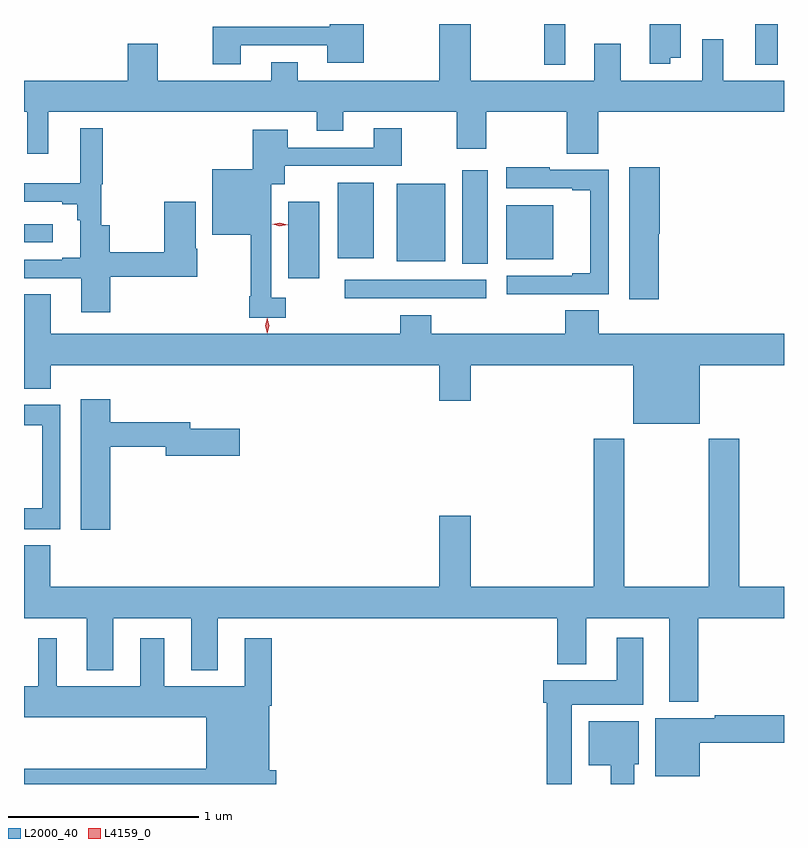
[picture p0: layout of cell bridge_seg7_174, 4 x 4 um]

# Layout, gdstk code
import gdstk
lib = gdstk.Library(unit=1e-6, precision=1e-09)
def R(c, l, rs):  # rectangles x0, y0, x1, y1
    for r in rs: c.add(gdstk.rectangle(r[:2], r[2:], *l))
def P(c, l, *ps):  # polygons
    for p in ps: c.add(gdstk.Polygon(p, *l))
L2000_40 = (2000, 40)
L4159_0 = (4159, 0)

bridge_seg7_174 = lib.new_cell('bridge_seg7_174')
R(bridge_seg7_174, L2000_40, [(452.223,1043.592,452.968,1043.688), (451.925,1043.697,452.089,1044.1), (452.84,1043.773,452.974,1044.265), (452.495,1043.786,452.752,1044.193), (453.071,1043.798,453.319,1044.082), (452.186,1043.801,452.374,1044.199), (450.534,1043.886,450.685,1043.982), (453.273,1044.821,453.382,1045.035), (454.382,1044.821,454.501,1045.035)])
P(bridge_seg7_174, L2000_40, [(453.934,1044.857),(453.991,1044.857),(453.991,1045.035),(453.827,1045.035),(453.827,1044.827),(453.934,1044.827)],
  [(451.675,1044.924),(452.129,1044.924),(452.129,1044.83),(452.323,1044.83),(452.323,1045.035),(452.144,1045.035),(452.144,1045.02),(451.528,1045.02),(451.528,1044.822),(451.675,1044.822)],
  [(453.557,1044.572),(454.534,1044.572),(454.534,1044.736),(454.213,1044.736),(454.213,1044.955),(454.103,1044.955),(454.103,1044.736),(453.676,1044.736),(453.676,1044.93),(453.536,1044.93),(453.536,1044.736),(452.884,1044.736),(452.884,1045.035),(452.72,1045.035),(452.72,1044.736),(451.975,1044.736),(451.975,1044.835),(451.835,1044.835),(451.835,1044.736),(451.239,1044.736),(451.239,1044.93),(451.079,1044.93),(451.079,1044.736),(450.534,1044.736),(450.534,1044.572),(450.551,1044.572),(450.551,1044.353),(450.661,1044.353),(450.661,1044.572),(452.075,1044.572),(452.075,1044.473),(452.215,1044.473),(452.215,1044.572),(452.812,1044.572),(452.812,1044.378),(452.967,1044.378),(452.967,1044.572),(453.391,1044.572),(453.391,1044.352),(453.557,1044.352)],
  [(451.912,1043.595),(451.836,1043.595),(451.836,1044.191),(451.906,1044.191),(451.906,1044.288),(452.523,1044.288),(452.523,1044.487),(452.375,1044.487),(452.375,1044.384),(451.921,1044.384),(451.921,1044.478),(451.739,1044.478),(451.739,1044.271),(451.526,1044.271),(451.526,1043.927),(451.728,1043.927),(451.728,1043.602),(451.72,1043.602),(451.72,1043.49),(451.912,1043.49)],
  [(450.989,1043.706),(451.446,1043.706),(451.446,1043.851),(451.438,1043.851),(451.438,1044.1),(451.273,1044.1),(451.273,1043.834),(450.984,1043.834),(450.984,1043.977),(450.941,1043.977),(450.941,1044.192),(450.949,1044.192),(450.949,1044.487),(450.83,1044.487),(450.83,1044.196),(450.534,1044.196),(450.534,1044.099),(450.734,1044.099),(450.734,1044.087),(450.813,1044.087),(450.813,1044.002),(450.83,1044.002),(450.83,1043.805),(450.734,1043.805),(450.734,1043.793),(450.534,1043.793),(450.534,1043.697),(450.836,1043.697),(450.836,1043.517),(450.989,1043.517)],
  [(453.299,1043.613),(453.612,1043.613),(453.612,1044.267),(453.302,1044.267),(453.302,1044.28),(453.072,1044.28),(453.072,1044.171),(453.419,1044.171),(453.419,1044.159),(453.515,1044.159),(453.515,1043.722),(453.419,1043.722),(453.419,1043.709),(453.075,1043.709),(453.075,1043.612),(453.299,1043.612)],
  [(453.875,1043.931),(453.88,1043.931),(453.88,1044.28),(453.719,1044.28),(453.719,1043.586),(453.875,1043.586)],
  [(454.09,1043.24),(454.534,1043.24),(454.534,1043.404),(453.56,1043.404),(453.56,1043.528),(453.383,1043.528),(453.383,1043.404),(452.678,1043.404),(452.678,1043.503),(452.513,1043.503),(452.513,1043.404),(450.676,1043.404),(450.676,1043.612),(450.536,1043.612),(450.536,1043.404),(450.534,1043.404),(450.534,1043.116),(450.674,1043.116),(450.674,1043.24),(452.72,1043.24),(452.72,1043.052),(452.884,1043.052),(452.884,1043.24),(453.74,1043.24),(453.74,1042.931),(454.09,1042.931)],
  [(450.989,1042.81),(451.28,1042.81),(451.28,1042.763),(451.669,1042.763),(451.669,1042.905),(451.408,1042.905),(451.408,1042.939),(450.989,1042.939),(450.989,1043.059),(450.833,1043.059),(450.833,1042.374),(450.989,1042.374)],
  [(450.726,1043.031),(450.534,1043.031),(450.534,1042.923),(450.629,1042.923),(450.629,1042.486),(450.534,1042.486),(450.534,1042.377),(450.726,1042.377)],
  [(452.884,1042.447),(452.72,1042.447),(452.72,1042.072),(450.671,1042.072),(450.671,1042.292),(450.534,1042.292),(450.534,1041.908),(450.863,1041.908),(450.863,1041.635),(451.003,1041.635),(451.003,1041.908),(451.415,1041.908),(451.415,1041.635),(451.555,1041.635),(451.555,1041.908),(453.341,1041.908),(453.341,1041.665),(453.493,1041.665),(453.493,1041.908),(453.929,1041.908),(453.929,1041.467),(454.082,1041.467),(454.082,1041.908),(454.534,1041.908),(454.534,1042.072),(454.298,1042.072),(454.298,1042.852),(454.138,1042.852),(454.138,1042.072),(453.693,1042.072),(453.693,1042.852),(453.533,1042.852),(453.533,1042.072),(452.884,1042.072)],
  [(453.418,1041.452),(453.793,1041.452),(453.793,1041.805),(453.653,1041.805),(453.653,1041.58),(453.266,1041.58),(453.266,1041.462),(453.284,1041.462),(453.284,1041.035),(453.418,1041.035)],
  [(451.862,1041.108),(451.825,1041.108),(451.825,1041.446),(451.838,1041.446),(451.838,1041.802),(451.697,1041.802),(451.697,1041.55),(451.273,1041.55),(451.273,1041.802),(451.145,1041.802),(451.145,1041.55),(450.706,1041.55),(450.706,1041.802),(450.608,1041.802),(450.608,1041.55),(450.534,1041.55),(450.534,1041.386),(451.493,1041.386),(451.493,1041.116),(450.534,1041.116),(450.534,1041.035),(451.862,1041.035)],
  [(454.09,1041.251),(454.534,1041.251),(454.534,1041.398),(454.17,1041.398),(454.17,1041.382),(453.857,1041.382),(453.857,1041.077),(454.09,1041.077)],
  [(453.745,1041.138),(453.769,1041.138),(453.769,1041.364),(453.506,1041.364),(453.506,1041.134),(453.623,1041.134),(453.623,1041.035),(453.745,1041.035)])
P(bridge_seg7_174, L4159_0, [(451.88,1043.971),(451.84,1043.982),(451.84,1043.982),(451.84,1043.982),(451.881,1043.99),(451.922,1043.979),(451.922,1043.979),(451.922,1043.979)],
  [(451.814,1043.407),(451.814,1043.407),(451.804,1043.448),(451.814,1043.488),(451.814,1043.489),(451.814,1043.488),(451.824,1043.448),(451.814,1043.407)])

lib.write_gds('bridge_seg7_174.gds')
